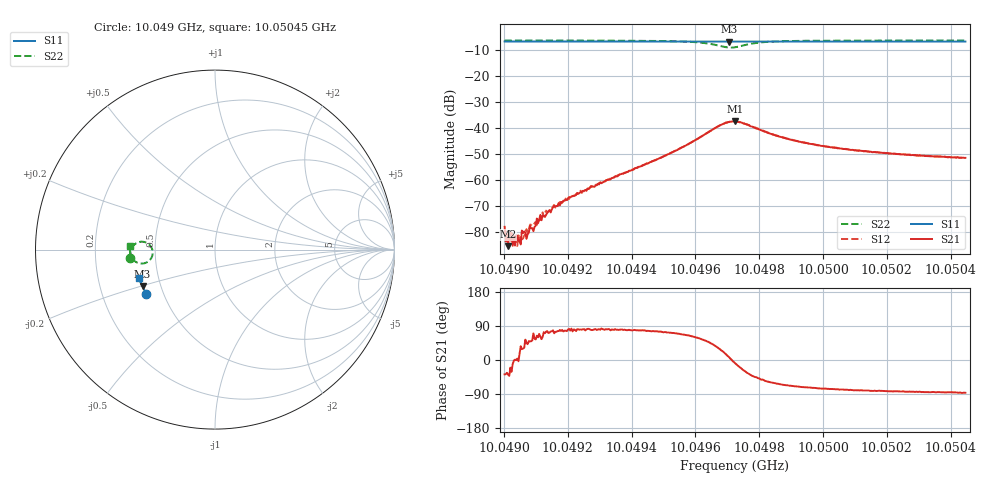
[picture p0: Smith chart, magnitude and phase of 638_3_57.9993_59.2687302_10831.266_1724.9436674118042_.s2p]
#  HZ  S  RI  R  50.00
! Rohde & Schwarz Vector Network Analyzer
! Rohde-Schwarz,ZNB20-2Port,1311601062101988,3.16
! Created: UTC 3/21/2024, 1:18:56 AM
! freq[Hz]  re:S11  im:S11  re:S21  im:S21  re:S12  im:S12  re:S22  im:S22
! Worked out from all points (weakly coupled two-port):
!   401 points, 10.049 GHz to 10.05045 GHz, reference 50 ohm
!   highest |S21| = -37.48 dB at 10.04972 GHz (marker M1); lowest = -85.3 dB at 10.04901 GHz (marker M2)
!   lowest |S11| = -6.9 dB at 10.04971 GHz (marker M3), VSWR 2.65, Z = 19.8 - j10.2 ohm
!   |S11| at or under -10 dB: nowhere
!   |S22| runs from -9.2 to -6.5 dB; largest |S21 - S12| = 0.0012
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1.0049002e10  -0.383 -0.2458  0.000101 -7.85e-05  7.72e-05 -7.44e-05  -0.4732 -0.0494
1.0049013e10  -0.3832 -0.2452  4.22e-05 -3.39e-05  6.42e-05 -1.81e-05  -0.4732 -0.0484
1.004907e10  -0.3852 -0.2418  5.34e-05 5.27e-05  8.25e-05 8.02e-05  -0.4735 -0.0436
1.0049092e10  -0.3859 -0.2405  3.54e-05 9.88e-05  6.48e-05 0.00012  -0.4736 -0.0417
1.0049107e10  -0.3865 -0.2397  7.49e-05 0.000129  2.92e-05 0.000173  -0.4734 -0.0405
1.0049128e10  -0.3871 -0.2385  6.47e-05 0.000186  6.55e-05 0.000224  -0.4733 -0.0385
1.0049164e10  -0.3882 -0.2364  8.42e-05 0.000309  8.98e-05 0.000309  -0.4734 -0.0353
1.0049208e10  -0.3897 -0.234  9.97e-05 0.000452  6.65e-05 0.000468  -0.4731 -0.0311
1.0049244e10  -0.3909 -0.2319  0.000103 0.000584  5.09e-05 0.000566  -0.4731 -0.0273
1.0049486e10  -0.3984 -0.2176  0.000689 0.00251  0.000554 0.00257  -0.4651 0.00619
1.0049558e10  -0.4005 -0.2132  0.00162 0.00394  0.00133 0.004  -0.4541 0.0231
1.0049648e10  -0.4026 -0.2076  0.00639 0.0062  0.00594 0.00654  -0.4053 0.0441
1.0049681e10  -0.4029 -0.2058  0.0104 0.00493  0.00999 0.00568  -0.3682 0.0296
1.0049706e10  -0.4033 -0.2045  0.013 0.00158  0.0128 0.00254  -0.3477 -0.0059
1.0049724e10  -0.4039 -0.2039  0.0132 -0.00195  0.0134 -0.000766  -0.3503 -0.0374
1.004976e10  -0.4051 -0.2023  0.00982 -0.00633  0.0103 -0.00558  -0.3883 -0.0747
1.0049814e10  -0.4071 -0.1991  0.00512 -0.0069  0.00565 -0.00667  -0.4359 -0.0712
1.0049883e10  -0.4093 -0.1949  0.00253 -0.0058  0.00295 -0.00566  -0.4592 -0.0517
1.0049966e10  -0.4117 -0.1899  0.0014 -0.0047  0.00166 -0.00463  -0.4687 -0.0337
1.0050081e10  -0.4146 -0.1828  0.000701 -0.00378  0.000955 -0.00377  -0.4732 -0.0164
1.0050208e10  -0.4177 -0.1751  0.000416 -0.00321  0.000612 -0.00322  -0.4748 -0.00232
1.0050446e10  -0.4232 -0.1605  0.000162 -0.00266  0.000319 -0.00266  -0.4754 0.0191
